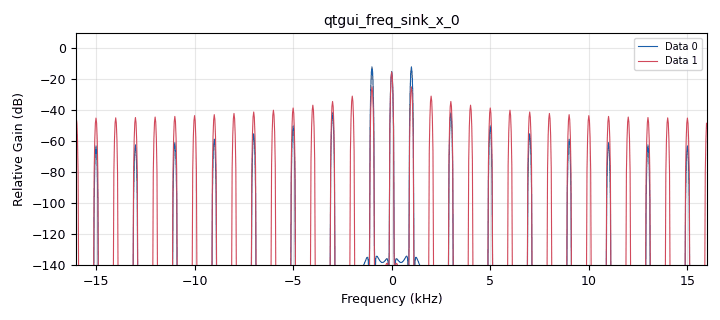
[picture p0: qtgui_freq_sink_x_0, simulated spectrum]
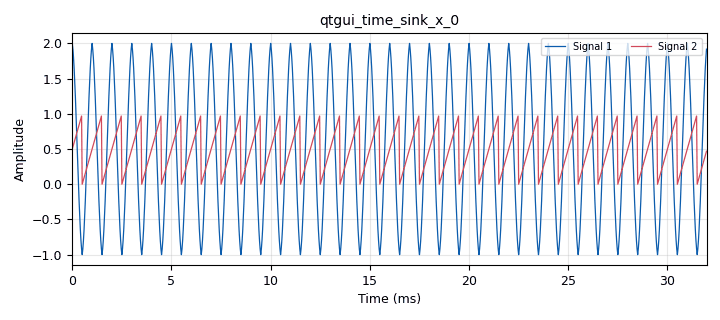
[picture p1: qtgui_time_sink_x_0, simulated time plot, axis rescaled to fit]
options:
  parameters:
    generate_options: qt_gui
    id: Primer_Flujograma
    output_language: python
    title: Primer_Flujogramo
  states: {}

blocks:
- name: Frec
  id: variable_qtgui_range
  parameters:
    start: '0'
    step: '1000'
    stop: '100000'
    value: '1000'
  states: {}
- name: FrecT
  id: variable_qtgui_range
  parameters:
    start: '0'
    step: '1000'
    stop: '100000'
    value: '1000'
  states: {}
- name: SAW
  id: variable_qtgui_range
  parameters:
    start: '0'
    step: '1000'
    stop: '100000'
    value: '1000'
  states: {}
- name: samp_rate
  id: variable
  parameters:
    value: '32000'
  states: {}
- name: analog_sig_source_x_0
  id: analog_sig_source_x
  parameters:
    amp: '1'
    freq: Frec
    offset: '0'
    phase: '0'
    samp_rate: samp_rate
    type: float
    waveform: analog.GR_COS_WAVE
  states: {}
- name: analog_sig_source_x_0_0
  id: analog_sig_source_x
  parameters:
    amp: '1'
    freq: FrecT
    offset: '0'
    phase: '0'
    samp_rate: samp_rate
    type: float
    waveform: analog.GR_TRI_WAVE
  states: {}
- name: analog_sig_source_x_0_0_0
  id: analog_sig_source_x
  parameters:
    amp: '1'
    freq: SAW
    offset: '0'
    phase: '0'
    samp_rate: samp_rate
    type: float
    waveform: analog.GR_SAW_WAVE
  states: {}
- name: blocks_add_xx_0
  id: blocks_add_xx
  parameters:
    type: float
  states: {}
- name: blocks_throttle_0
  id: blocks_throttle
  parameters:
    samples_per_second: samp_rate
    type: float
  states: {}
- name: blocks_throttle_0_0
  id: blocks_throttle
  parameters:
    samples_per_second: samp_rate
    type: float
  states: {}
- name: qtgui_freq_sink_x_0
  id: qtgui_freq_sink_x
  parameters:
    bw: samp_rate
    fc: '0'
    fftsize: '1024'
    nconnections: '2'
    type: float
  states: {}
- name: qtgui_time_sink_x_0
  id: qtgui_time_sink_x
  parameters:
    nconnections: '2'
    size: '1024'
    srate: samp_rate
    type: float
  states: {}

connections:
- [analog_sig_source_x_0, '0', blocks_add_xx_0, '0']
- [analog_sig_source_x_0_0, '0', blocks_add_xx_0, '1']
- [analog_sig_source_x_0_0_0, '0', blocks_throttle_0_0, '0']
- [blocks_add_xx_0, '0', blocks_throttle_0, '0']
- [blocks_throttle_0, '0', qtgui_freq_sink_x_0, '0']
- [blocks_throttle_0, '0', qtgui_time_sink_x_0, '0']
- [blocks_throttle_0_0, '0', qtgui_freq_sink_x_0, '1']
- [blocks_throttle_0_0, '0', qtgui_time_sink_x_0, '1']

metadata:
  file_format: 1
  grc_version: 3.9.8.0
